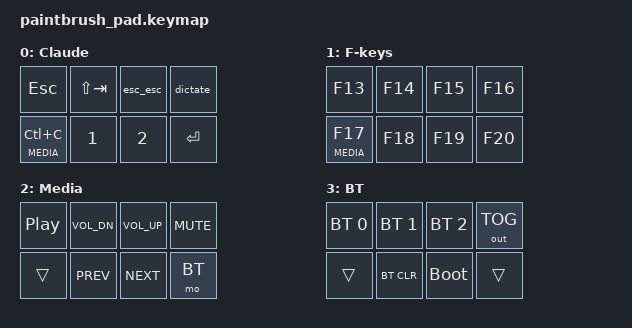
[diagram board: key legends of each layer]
/*
 * ARTSEY Paintbrush as a Claude Code macropad. Edit this file, push, and GitHub
 * Actions builds a new .uf2. Positions are numbered 0-3 (top row) and 4-7
 * (bottom row).
 *
 * SPDX-License-Identifier: MIT
 */

#include <behaviors.dtsi>
#include <dt-bindings/zmk/keys.h>
#include <dt-bindings/zmk/bt.h>
#include <dt-bindings/zmk/outputs.h>

#define CLAUDE 0
#define FKEYS  1
#define MEDIA  2
#define BT     3

/ {
    macros {
        // Double Esc: Claude Code's "rewind / edit previous message".
        // The pause keeps the terminal from reading the pair as Alt+Esc.
        esc_esc: esc_esc {
            compatible = "zmk,behavior-macro";
            #binding-cells = <0>;
            wait-ms = <150>;
            bindings = <&kp ESC &kp ESC>;
        };

        // Double-press Globe/Fn: starts macOS dictation (default shortcut).
        dictate: dictate {
            compatible = "zmk,behavior-macro";
            #binding-cells = <0>;
            wait-ms = <100>;
            bindings = <&kp GLOBE &kp GLOBE>;
        };

        // Type "/clear" and run it.
        cmd_clear: cmd_clear {
            compatible = "zmk,behavior-macro";
            #binding-cells = <0>;
            bindings
                = <&kp SLASH &kp C &kp L &kp E &kp A &kp R>
                , <&macro_wait_time 100>
                , <&kp RET>
                ;
        };

        // Type "/compact" and run it.
        cmd_compact: cmd_compact {
            compatible = "zmk,behavior-macro";
            #binding-cells = <0>;
            bindings
                = <&kp SLASH &kp C &kp O &kp M &kp P &kp A &kp C &kp T>
                , <&macro_wait_time 100>
                , <&kp RET>
                ;
        };
    };

    combos {
        compatible = "zmk,combos";

        // Top-left + second key: /clear
        combo_clear {
            timeout-ms = <50>;
            key-positions = <0 1>;
            bindings = <&cmd_clear>;
            layers = <CLAUDE>;
        };

        // Third + top-right key: /compact
        combo_compact {
            timeout-ms = <50>;
            key-positions = <2 3>;
            bindings = <&cmd_compact>;
            layers = <CLAUDE>;
        };

        // Both top corners: switch between the Claude and F13-F20 layers
        combo_fkeys {
            timeout-ms = <50>;
            key-positions = <0 3>;
            bindings = <&tog FKEYS>;
            layers = <CLAUDE FKEYS>;
        };
    };

    keymap {
        compatible = "zmk,keymap";

        claude_layer {
            display-name = "Claude";
            // -------------------------------------------------------------
            // |  Esc       |  Shift+Tab  |  Esc Esc  |  Dictate  |
            // |  ^C/MEDIA  |  1 (yes)    |  2 (yes,  |  Enter    |
            // |            |             |  always)  |           |
            // -------------------------------------------------------------
            // Esc: stop Claude. Shift+Tab: cycle normal/auto-accept/plan.
            // Esc Esc: rewind. 1/2: answer a permission prompt.
            // Tap bottom-left for Ctrl+C, hold it for the Media layer.
            bindings = <
                &kp ESC          &kp LS(TAB)   &esc_esc   &dictate
                &lt MEDIA LC(C)  &kp N1        &kp N2     &kp RET
            >;
        };

        fkey_layer {
            display-name = "F-keys";
            // ---------------------------------------
            // |  F13      |  F14  |  F15  |  F16  |
            // |  F17/MEDIA|  F18  |  F19  |  F20  |   hold bottom-left -> Media layer
            // ---------------------------------------
            bindings = <
                &kp F13        &kp F14   &kp F15   &kp F16
                &lt MEDIA F17  &kp F18   &kp F19   &kp F20
            >;
        };

        media_layer {
            display-name = "Media";
            // ---------------------------------------
            // |  Play/Pause |  Vol-  |  Vol+  |  Mute  |
            // |  (held)     |  Prev  |  Next  |  BT    |   hold bottom-right too -> BT layer
            // ---------------------------------------
            bindings = <
                &kp C_PP   &kp C_VOL_DN   &kp C_VOL_UP   &kp C_MUTE
                &trans     &kp C_PREV     &kp C_NEXT     &mo BT
            >;
        };

        bt_layer {
            display-name = "BT";
            // ---------------------------------------
            // |  BT 0   |  BT 1    |  BT 2       |  USB/BT toggle |
            // |  (held) |  BT clr  |  Bootloader |  (held)        |
            // ---------------------------------------
            bindings = <
                &bt BT_SEL 0   &bt BT_SEL 1   &bt BT_SEL 2   &out OUT_TOG
                &trans         &bt BT_CLR     &bootloader    &trans
            >;
        };
    };
};
